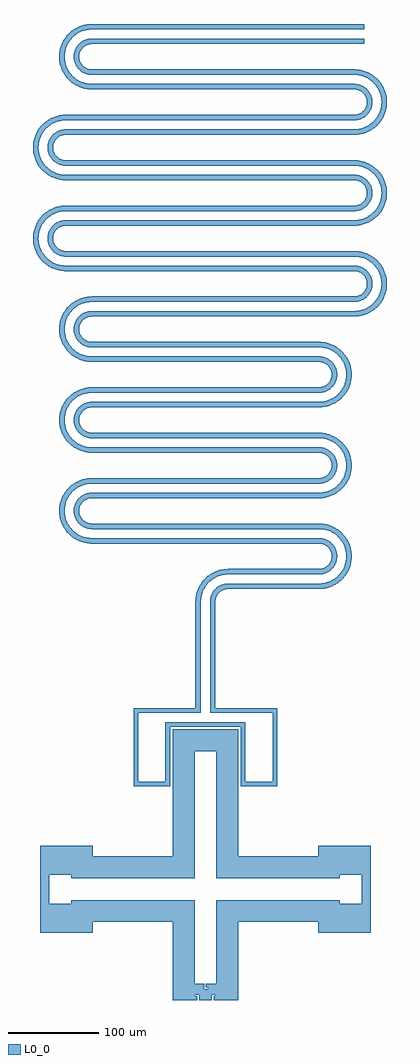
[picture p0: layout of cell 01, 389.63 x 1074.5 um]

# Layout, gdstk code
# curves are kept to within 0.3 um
import gdstk
lib = gdstk.Library(unit=1e-6, precision=1e-09)
def R(c, l, rs):  # rectangles x0, y0, x1, y1
    for r in rs: c.add(gdstk.rectangle(r[:2], r[2:], *l))
def P(c, l, *ps):  # polygons
    for p in ps: c.add(gdstk.Polygon(p, *l))
L0_0 = (0, 0)

c_01 = lib.new_cell('01')
R(c_01, L0_0, [(-11,0,-5,120), (5,0,11,120), (25,134,125,140), (25,150,125,156), (-125,184,125,190), (-125,200,125,206), (-125,234,125,240), (-125,250,125,256), (-125,284,125,290), (-125,300,125,306), (-125,334,125,340), (-125,350,125,356), (-125,384,125,390), (-125,400,125,406), (-125,434,163.826,440), (-125,450,163.826,456), (-153.826,484,163.826,490), (-153.826,500,163.826,506), (-153.826,534,163.826,540), (-153.826,550,163.826,556), (-153.826,584,163.826,590), (-153.826,600,163.826,606), (-153.826,634,163.826,640), (-153.826,650,163.826,656), (-125,684,163.826,690), (-125,700,163.826,706), (-125,734,175,740), (-125,750,175,756)])
P(c_01, L0_0, [(-9,-314.5),(-11,-314.5),(-11,-312.5),(-7,-312.5),(-7,-318.5),(7,-318.5),(7,-312.5),(11,-312.5),(11,-314.5),(9,-314.5),(9,-318.5),(36,-318.5),(36,-232.5),(124,-232.5),(124,-244.5),(182,-244.5),(182,-148.5),(124,-148.5),(124,-160.5),(36,-160.5),(36,-20.5),(-36,-20.5),(-36,-160.5),(-124,-160.5),(-124,-148.5),(-182,-148.5),(-182,-212.5),(-172,-212.5),(-172,-180.5),(-148,-180.5),(-148,-184.5),(-12,-184.5),(-12,-44.5),(12,-44.5),(12,-184.5),(148,-184.5),(148,-180.5),(172,-180.5),(172,-212.5),(148,-212.5),(148,-208.5),(12,-208.5),(12,-300.5),(0.5,-300.5),(0.5,-304.5),(2.5,-304.5),(2.5,-306.5),(-1.5,-306.5),(-1.5,-300.5),(-12,-300.5),(-12,-208.5),(-148,-208.5),(-148,-212.5),(-172,-212.5),(-182,-212.5),(-182,-244.5),(-124,-244.5),(-124,-232.5),(-36,-232.5),(-36,-318.5),(-9,-318.5)],
  [(-5,-2.5),(-5,2.5),(-79,2.5),(-79,-83),(-39,-83),(-39,-17.5),(39,-17.5),(39,-83),(79,-83),(79,2.5),(5,2.5),(5,-2.5),(74,-2.5),(74,-78),(44,-78),(44,-12.5),(-44,-12.5),(-44,-78),(-74,-78),(-74,-2.5)],
  [(5,120),(5.361,123.785),(6.433,127.433),(8.175,130.813),(10.525,133.802),(13.399,136.292),(16.692,138.193),(21.215,139.639),(25,140),(25,134),(19.797,132.997),(15.339,130.132),(12.265,125.816),(11.253,122.65),(11,120)],
  [(-11,120),(-10.349,126.813),(-8.421,133.38),(-5.285,139.463),(-1.054,144.843),(4.118,149.325),(10.045,152.747),(16.513,154.985),(25,156),(25,150),(19.322,149.458),(13.85,147.851),(8.781,145.238),(4.298,141.712),(-0.238,136.219),(-2.851,131.15),(-4.458,125.678),(-5,120)],
  [(125,150),(128.729,150.351),(132.328,151.391),(135.669,153.083),(138.636,155.369),(141.662,158.937),(143.432,162.238),(144.556,165.811),(144.995,169.531),(144.731,173.268),(143.776,176.889),(141.662,181.063),(139.307,183.975),(135.669,186.917),(132.328,188.609),(128.729,189.649),(125,190),(125,184),(130.129,183.027),(133.015,181.479),(135.015,179.783),(137.903,175.433),(138.996,170.328),(138.69,167.068),(137.903,164.567),(135.015,160.217),(133.015,158.521),(130.129,156.973),(125,156)],
  [(125,134),(131.713,134.631),(138.19,136.503),(144.204,139.55),(150.752,144.844),(154.991,150.087),(158.178,156.029),(160.202,162.46),(160.99,169.156),(160.516,175.882),(158.797,182.401),(155.892,188.485),(150.752,195.156),(144.204,200.45),(138.19,203.497),(131.713,205.369),(125,206),(125,200),(130.594,199.474),(137.288,197.368),(143.309,193.765),(147.419,189.934),(149.993,186.594),(152.649,181.643),(154.335,176.283),(154.992,170.703),(154.597,165.099),(153.164,159.666),(151.437,155.819),(148.329,151.139),(143.309,146.235),(137.288,142.632),(130.594,140.526),(125,140)],
  [(-125,200),(-128.729,200.351),(-132.328,201.391),(-135.669,203.083),(-138.636,205.369),(-141.662,208.937),(-143.432,212.238),(-144.556,215.811),(-144.995,219.531),(-144.731,223.268),(-143.776,226.889),(-141.662,231.063),(-139.307,233.975),(-135.669,236.917),(-132.328,238.609),(-128.729,239.649),(-125,240),(-125,234),(-130.129,233.027),(-133.015,231.479),(-135.015,229.783),(-137.903,225.433),(-138.996,220.328),(-138.69,217.068),(-137.903,214.567),(-135.015,210.217),(-133.015,208.521),(-130.129,206.973),(-125,206)],
  [(-125,184),(-131.713,184.631),(-138.19,186.503),(-144.204,189.55),(-150.752,194.844),(-154.991,200.087),(-158.178,206.029),(-160.202,212.46),(-160.99,219.156),(-160.516,225.882),(-158.797,232.401),(-155.892,238.485),(-150.752,245.156),(-144.204,250.45),(-138.19,253.497),(-131.713,255.369),(-125,256),(-125,250),(-130.594,249.474),(-137.288,247.368),(-143.309,243.765),(-147.419,239.934),(-149.993,236.594),(-152.649,231.643),(-154.335,226.283),(-154.992,220.703),(-154.597,215.099),(-153.164,209.666),(-151.437,205.819),(-148.329,201.139),(-143.309,196.235),(-137.288,192.632),(-130.594,190.526),(-125,190)],
  [(125,250),(128.729,250.351),(132.328,251.391),(135.669,253.083),(138.636,255.369),(141.662,258.937),(143.432,262.238),(144.556,265.811),(144.995,269.531),(144.731,273.268),(143.776,276.889),(141.662,281.063),(139.307,283.975),(135.669,286.917),(132.328,288.609),(128.729,289.649),(125,290),(125,284),(130.129,283.027),(133.015,281.479),(135.015,279.783),(137.903,275.433),(138.996,270.328),(138.69,267.068),(137.903,264.567),(135.015,260.217),(133.015,258.521),(130.129,256.973),(125,256)],
  [(125,234),(131.713,234.631),(138.19,236.503),(144.204,239.55),(150.752,244.844),(154.991,250.087),(158.178,256.029),(160.202,262.46),(160.99,269.156),(160.516,275.882),(158.797,282.401),(155.892,288.485),(150.752,295.156),(144.204,300.45),(138.19,303.497),(131.713,305.369),(125,306),(125,300),(130.594,299.474),(137.288,297.368),(143.309,293.765),(147.419,289.934),(149.993,286.594),(152.649,281.643),(154.335,276.283),(154.992,270.703),(154.597,265.099),(153.164,259.666),(151.437,255.819),(148.329,251.139),(143.309,246.235),(137.288,242.632),(130.594,240.526),(125,240)],
  [(-125,300),(-128.729,300.351),(-132.328,301.391),(-135.669,303.083),(-138.636,305.369),(-141.662,308.937),(-143.432,312.238),(-144.556,315.811),(-144.995,319.531),(-144.731,323.268),(-143.776,326.889),(-141.662,331.063),(-139.307,333.975),(-135.669,336.917),(-132.328,338.609),(-128.729,339.649),(-125,340),(-125,334),(-130.129,333.027),(-133.015,331.479),(-135.015,329.783),(-137.903,325.433),(-138.996,320.328),(-138.69,317.068),(-137.903,314.567),(-135.015,310.217),(-133.015,308.521),(-130.129,306.973),(-125,306)],
  [(-125,284),(-131.713,284.631),(-138.19,286.503),(-144.204,289.55),(-150.752,294.844),(-154.991,300.087),(-158.178,306.029),(-160.202,312.46),(-160.99,319.156),(-160.516,325.882),(-158.797,332.401),(-155.892,338.485),(-150.752,345.156),(-144.204,350.45),(-138.19,353.497),(-131.713,355.369),(-125,356),(-125,350),(-130.594,349.474),(-137.288,347.368),(-143.309,343.765),(-147.419,339.934),(-149.993,336.594),(-152.649,331.643),(-154.335,326.283),(-154.992,320.703),(-154.597,315.099),(-153.164,309.666),(-151.437,305.819),(-148.329,301.139),(-143.309,296.235),(-137.288,292.632),(-130.594,290.526),(-125,290)],
  [(125,350),(128.729,350.351),(132.328,351.391),(135.669,353.083),(138.636,355.369),(141.662,358.937),(143.432,362.238),(144.556,365.811),(144.995,369.531),(144.731,373.268),(143.776,376.889),(141.662,381.063),(139.307,383.975),(135.669,386.917),(132.328,388.609),(128.729,389.649),(125,390),(125,384),(130.129,383.027),(133.015,381.479),(135.015,379.783),(137.903,375.433),(138.996,370.328),(138.69,367.068),(137.903,364.567),(135.015,360.217),(133.015,358.521),(130.129,356.973),(125,356)],
  [(125,334),(131.713,334.631),(138.19,336.503),(144.204,339.55),(150.752,344.844),(154.991,350.087),(158.178,356.029),(160.202,362.46),(160.99,369.156),(160.516,375.882),(158.797,382.401),(155.892,388.485),(150.752,395.156),(144.204,400.45),(138.19,403.497),(131.713,405.369),(125,406),(125,400),(130.594,399.474),(137.288,397.368),(143.309,393.765),(147.419,389.934),(149.993,386.594),(152.649,381.643),(154.335,376.283),(154.992,370.703),(154.597,365.099),(153.164,359.666),(151.437,355.819),(148.329,351.139),(143.309,346.235),(137.288,342.632),(130.594,340.526),(125,340)],
  [(-125,400),(-128.729,400.351),(-132.328,401.391),(-135.669,403.083),(-138.636,405.369),(-141.662,408.937),(-143.432,412.238),(-144.556,415.811),(-144.995,419.531),(-144.731,423.268),(-143.776,426.889),(-141.662,431.063),(-139.307,433.975),(-135.669,436.917),(-132.328,438.609),(-128.729,439.649),(-125,440),(-125,434),(-130.129,433.027),(-133.015,431.479),(-135.015,429.783),(-137.903,425.433),(-138.996,420.328),(-138.69,417.068),(-137.903,414.567),(-135.015,410.217),(-133.015,408.521),(-130.129,406.973),(-125,406)],
  [(-125,384),(-131.713,384.631),(-138.19,386.503),(-144.204,389.55),(-150.752,394.844),(-154.991,400.087),(-158.178,406.029),(-160.202,412.46),(-160.99,419.156),(-160.516,425.882),(-158.797,432.401),(-155.892,438.485),(-150.752,445.156),(-144.204,450.45),(-138.19,453.497),(-131.713,455.369),(-125,456),(-125,450),(-130.594,449.474),(-137.288,447.368),(-143.309,443.765),(-147.419,439.934),(-149.993,436.594),(-152.649,431.643),(-154.335,426.283),(-154.992,420.703),(-154.597,415.099),(-153.164,409.666),(-151.437,405.819),(-148.329,401.139),(-143.309,396.235),(-137.288,392.632),(-130.594,390.526),(-125,390)],
  [(163.826,450),(167.555,450.351),(171.154,451.391),(174.495,453.083),(177.462,455.369),(180.488,458.937),(182.258,462.238),(183.382,465.811),(183.821,469.531),(183.557,473.268),(182.602,476.889),(180.488,481.063),(178.133,483.975),(174.495,486.917),(171.154,488.609),(167.555,489.649),(163.826,490),(163.826,484),(168.955,483.027),(171.841,481.479),(173.841,479.783),(176.729,475.433),(177.822,470.328),(177.516,467.068),(176.729,464.567),(173.841,460.217),(171.841,458.521),(168.955,456.973),(163.826,456)],
  [(163.826,434),(170.539,434.631),(177.016,436.503),(183.03,439.55),(189.578,444.844),(193.817,450.087),(197.004,456.029),(199.028,462.46),(199.816,469.156),(199.342,475.882),(197.623,482.401),(194.718,488.485),(189.578,495.156),(183.03,500.45),(177.016,503.497),(170.539,505.369),(163.826,506),(163.826,500),(169.42,499.474),(176.114,497.368),(182.135,493.765),(186.245,489.934),(188.819,486.594),(191.475,481.643),(193.161,476.283),(193.818,470.703),(193.423,465.099),(191.99,459.666),(190.263,455.819),(187.155,451.139),(182.135,446.235),(176.114,442.632),(169.42,440.526),(163.826,440)],
  [(-153.826,500),(-157.555,500.351),(-161.154,501.391),(-164.495,503.083),(-167.462,505.369),(-170.488,508.937),(-172.258,512.238),(-173.382,515.811),(-173.821,519.531),(-173.557,523.268),(-172.602,526.889),(-170.488,531.063),(-168.133,533.975),(-164.495,536.917),(-161.154,538.609),(-157.555,539.649),(-153.826,540),(-153.826,534),(-158.955,533.027),(-161.841,531.479),(-163.841,529.783),(-166.729,525.433),(-167.822,520.328),(-167.516,517.068),(-166.729,514.567),(-163.841,510.217),(-161.841,508.521),(-158.955,506.973),(-153.826,506)],
  [(-153.826,484),(-160.539,484.631),(-167.016,486.503),(-173.03,489.55),(-179.578,494.844),(-183.817,500.087),(-187.004,506.029),(-189.028,512.46),(-189.816,519.156),(-189.342,525.882),(-187.623,532.401),(-184.718,538.485),(-179.578,545.156),(-173.03,550.45),(-167.016,553.497),(-160.539,555.369),(-153.826,556),(-153.826,550),(-159.42,549.474),(-166.114,547.368),(-172.135,543.765),(-176.245,539.934),(-178.819,536.594),(-181.475,531.643),(-183.161,526.283),(-183.818,520.703),(-183.423,515.099),(-181.99,509.666),(-180.263,505.819),(-177.155,501.139),(-172.135,496.235),(-166.114,492.632),(-159.42,490.526),(-153.826,490)],
  [(163.826,550),(167.555,550.351),(171.154,551.391),(174.495,553.083),(177.462,555.369),(180.488,558.937),(182.258,562.238),(183.382,565.811),(183.821,569.531),(183.557,573.268),(182.602,576.889),(180.488,581.063),(178.133,583.975),(174.495,586.917),(171.154,588.609),(167.555,589.649),(163.826,590),(163.826,584),(168.955,583.027),(171.841,581.479),(173.841,579.783),(176.729,575.433),(177.822,570.328),(177.516,567.068),(176.729,564.567),(173.841,560.217),(171.841,558.521),(168.955,556.973),(163.826,556)],
  [(163.826,534),(170.539,534.631),(177.016,536.503),(183.03,539.55),(189.578,544.844),(193.817,550.087),(197.004,556.029),(199.028,562.46),(199.816,569.156),(199.342,575.882),(197.623,582.401),(194.718,588.485),(189.578,595.156),(183.03,600.45),(177.016,603.497),(170.539,605.369),(163.826,606),(163.826,600),(169.42,599.474),(176.114,597.368),(182.135,593.765),(186.245,589.934),(188.819,586.594),(191.475,581.643),(193.161,576.283),(193.818,570.703),(193.423,565.099),(191.99,559.666),(190.263,555.819),(187.155,551.139),(182.135,546.235),(176.114,542.632),(169.42,540.526),(163.826,540)],
  [(-153.826,600),(-157.555,600.351),(-161.154,601.391),(-164.495,603.083),(-167.462,605.369),(-170.488,608.937),(-172.258,612.238),(-173.382,615.811),(-173.821,619.531),(-173.557,623.268),(-172.602,626.889),(-170.488,631.063),(-168.133,633.975),(-164.495,636.917),(-161.154,638.609),(-157.555,639.649),(-153.826,640),(-153.826,634),(-158.955,633.027),(-161.841,631.479),(-163.841,629.783),(-166.729,625.433),(-167.822,620.328),(-167.516,617.068),(-166.729,614.567),(-163.841,610.217),(-161.841,608.521),(-158.955,606.973),(-153.826,606)],
  [(-153.826,584),(-160.539,584.631),(-167.016,586.503),(-173.03,589.55),(-179.578,594.844),(-183.817,600.087),(-187.004,606.029),(-189.028,612.46),(-189.816,619.156),(-189.342,625.882),(-187.623,632.401),(-184.718,638.485),(-179.578,645.156),(-173.03,650.45),(-167.016,653.497),(-160.539,655.369),(-153.826,656),(-153.826,650),(-159.42,649.474),(-166.114,647.368),(-172.135,643.765),(-176.245,639.934),(-178.819,636.594),(-181.475,631.643),(-183.161,626.283),(-183.818,620.703),(-183.423,615.099),(-181.99,609.666),(-180.263,605.819),(-177.155,601.139),(-172.135,596.235),(-166.114,592.632),(-159.42,590.526),(-153.826,590)],
  [(163.826,650),(167.555,650.351),(171.154,651.391),(174.495,653.083),(177.462,655.369),(180.488,658.937),(182.258,662.238),(183.382,665.811),(183.821,669.531),(183.557,673.268),(182.602,676.889),(180.488,681.063),(178.133,683.975),(174.495,686.917),(171.154,688.609),(167.555,689.649),(163.826,690),(163.826,684),(168.955,683.027),(171.841,681.479),(173.841,679.783),(176.729,675.433),(177.822,670.328),(177.516,667.068),(176.729,664.567),(173.841,660.217),(171.841,658.521),(168.955,656.973),(163.826,656)],
  [(163.826,634),(170.539,634.631),(177.016,636.503),(183.03,639.55),(189.578,644.844),(193.817,650.087),(197.004,656.029),(199.028,662.46),(199.816,669.156),(199.342,675.882),(197.623,682.401),(194.718,688.485),(189.578,695.156),(183.03,700.45),(177.016,703.497),(170.539,705.369),(163.826,706),(163.826,700),(169.42,699.474),(176.114,697.368),(182.135,693.765),(186.245,689.934),(188.819,686.594),(191.475,681.643),(193.161,676.283),(193.818,670.703),(193.423,665.099),(191.99,659.666),(190.263,655.819),(187.155,651.139),(182.135,646.235),(176.114,642.632),(169.42,640.526),(163.826,640)],
  [(-125,700),(-128.729,700.351),(-132.328,701.391),(-135.669,703.083),(-138.636,705.369),(-141.662,708.937),(-143.432,712.238),(-144.556,715.811),(-144.995,719.531),(-144.731,723.268),(-143.776,726.889),(-141.662,731.063),(-139.307,733.975),(-135.669,736.917),(-132.328,738.609),(-128.729,739.649),(-125,740),(-125,734),(-130.129,733.027),(-133.015,731.479),(-135.015,729.783),(-137.903,725.433),(-138.996,720.328),(-138.69,717.068),(-137.903,714.567),(-135.015,710.217),(-133.015,708.521),(-130.129,706.973),(-125,706)],
  [(-125,684),(-131.713,684.631),(-138.19,686.503),(-144.204,689.55),(-150.752,694.844),(-154.991,700.087),(-158.178,706.029),(-160.202,712.46),(-160.99,719.156),(-160.516,725.882),(-158.797,732.401),(-155.892,738.485),(-150.752,745.156),(-144.204,750.45),(-138.19,753.497),(-131.713,755.369),(-125,756),(-125,750),(-130.594,749.474),(-137.288,747.368),(-143.309,743.765),(-147.419,739.934),(-149.993,736.594),(-152.649,731.643),(-154.335,726.283),(-154.992,720.703),(-154.597,715.099),(-153.164,709.666),(-151.437,705.819),(-148.329,701.139),(-143.309,696.235),(-137.288,692.632),(-130.594,690.526),(-125,690)])

lib.write_gds('01.gds')
